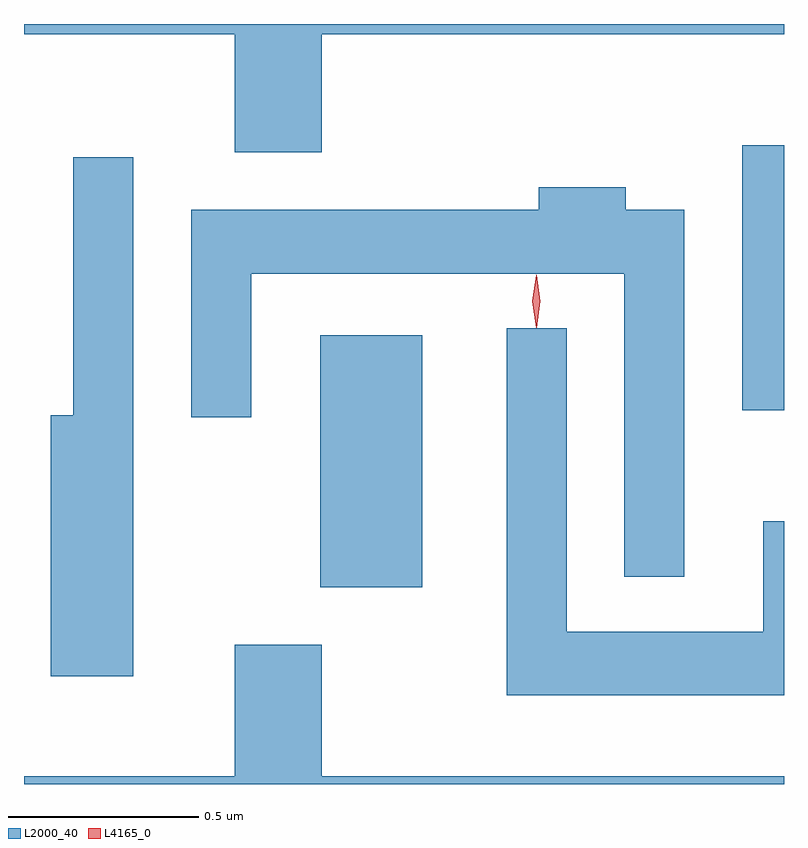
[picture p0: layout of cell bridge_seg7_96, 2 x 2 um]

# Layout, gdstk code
import gdstk
lib = gdstk.Library(unit=1e-6, precision=1e-09)
def R(c, l, rs):  # rectangles x0, y0, x1, y1
    for r in rs: c.add(gdstk.rectangle(r[:2], r[2:], *l))
def P(c, l, *ps):  # polygons
    for p in ps: c.add(gdstk.Polygon(p, *l))
L2000_40 = (2000, 40)
L4165_0 = (4165, 0)

bridge_seg7_96 = lib.new_cell('bridge_seg7_96')
R(bridge_seg7_96, L2000_40, [(1625.336,1786.121,1625.604,1786.784), (1626.446,1786.586,1626.556,1787.284)])
P(bridge_seg7_96, L2000_40, [(1625.339,1787.576),(1626.556,1787.576),(1626.556,1787.603),(1624.556,1787.603),(1624.556,1787.576),(1625.111,1787.576),(1625.111,1787.266),(1625.339,1787.266)],
  [(1624.844,1787.253),(1624.686,1787.253),(1624.686,1786.574),(1624.626,1786.574),(1624.626,1785.886),(1624.844,1785.886)],
  [(1626.294,1787.114),(1626.139,1787.114),(1626.139,1787.174),(1625.911,1787.174),(1625.911,1787.114),(1624.996,1787.114),(1624.996,1786.568),(1625.154,1786.568),(1625.154,1786.946),(1626.136,1786.946),(1626.136,1786.148),(1626.294,1786.148)],
  [(1626.556,1786.294),(1626.501,1786.294),(1626.501,1786.004),(1625.984,1786.004),(1625.984,1786.803),(1625.826,1786.803),(1625.826,1785.836),(1626.556,1785.836)],
  [(1626.556,1785.624),(1625.339,1785.624),(1625.339,1785.969),(1625.111,1785.969),(1625.111,1785.624),(1624.556,1785.624),(1624.556,1785.603),(1626.556,1785.603)])
P(bridge_seg7_96, L4165_0, [(1625.904,1786.804),(1625.904,1786.804),(1625.894,1786.874),(1625.904,1786.942),(1625.904,1786.943),(1625.905,1786.942),(1625.914,1786.874),(1625.905,1786.804)],
  [(1625.905,1786.807),(1625.904,1786.808),(1625.895,1786.874),(1625.904,1786.94),(1625.905,1786.94),(1625.905,1786.94),(1625.915,1786.874),(1625.905,1786.808)])

lib.write_gds('bridge_seg7_96.gds')
